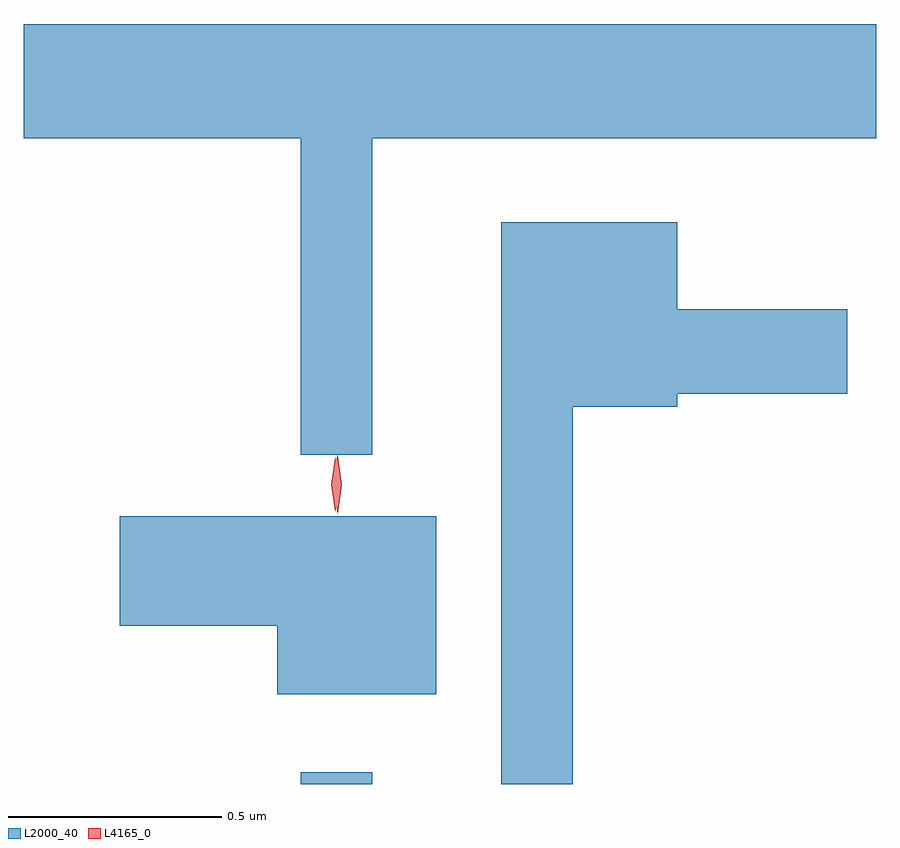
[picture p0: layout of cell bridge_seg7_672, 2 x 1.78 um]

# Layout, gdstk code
import gdstk
lib = gdstk.Library(unit=1e-6, precision=1e-09)
def R(c, l, rs):  # rectangles x0, y0, x1, y1
    for r in rs: c.add(gdstk.rectangle(r[:2], r[2:], *l))
def P(c, l, *ps):  # polygons
    for p in ps: c.add(gdstk.Polygon(p, *l))
L2000_40 = (2000, 40)
L4165_0 = (4165, 0)

bridge_seg7_672 = lib.new_cell('bridge_seg7_672')
R(bridge_seg7_672, L2000_40, [(903.551,1730.56,903.719,1730.588)])
P(bridge_seg7_672, L2000_40, [(903.719,1732.076),(904.901,1732.076),(904.901,1732.344),(902.901,1732.344),(902.901,1732.076),(903.551,1732.076),(903.551,1731.333),(903.719,1731.333)],
  [(904.189,1731.446),(904.434,1731.446),(904.434,1731.476),(904.834,1731.476),(904.834,1731.674),(904.434,1731.674),(904.434,1731.879),(904.021,1731.879),(904.021,1730.56),(904.189,1730.56)],
  [(903.869,1731.189),(903.126,1731.189),(903.126,1730.931),(903.496,1730.931),(903.496,1730.771),(903.869,1730.771)])
P(bridge_seg7_672, L4165_0, [(903.638,1731.194),(903.638,1731.194),(903.628,1731.262),(903.636,1731.33),(903.637,1731.33),(903.637,1731.33),(903.647,1731.262),(903.638,1731.194)],
  [(903.632,1731.2),(903.632,1731.2),(903.622,1731.263),(903.632,1731.326),(903.632,1731.327),(903.632,1731.326),(903.642,1731.263),(903.632,1731.2)])

lib.write_gds('bridge_seg7_672.gds')
